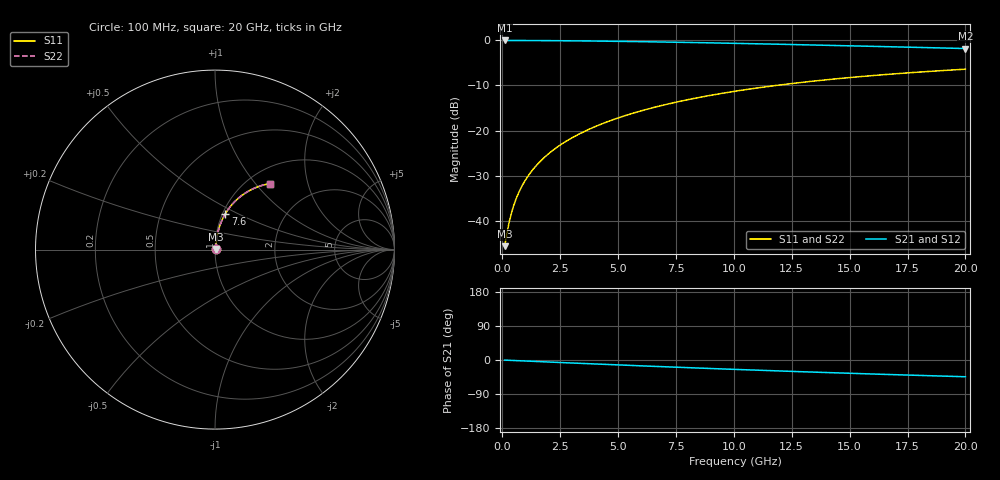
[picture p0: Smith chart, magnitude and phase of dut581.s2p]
! Touchstone file exported from HFSS 2024.1.0
!  File:  C:/UserFiles/LocalFiles/RDL_TSV_Batchsim/temp_RDL_bottom_581_1779690620.aedt
!  Generated:  02:33:07 PM May 25, 2026
!  Design:  RDL_bottom
!  Project:  temp_RDL_bottom_581_1779690620
!  Setup:  Setup1
!  Solution:  Sweep
! Variables:
!  dtsv = 10.80580581um
!  hbump = 3um
!  htsv = 72.78um
!  ldown = 546.74um
!  lrdl = 100um
!  p = 40
!  p1 = 59.2um
!  rhole = 1um
!  t = 450um
!  tdown = 2.78um
!  trdl = 3.915915916um
!  wdown = 16.49um
!  wrdl = 20um
# GHz S MA R 50.000000
! Terminal data exported
! Port[1] = RDL1_T1
! Port[2] = RDL1_T2
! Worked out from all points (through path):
!   200 points, 100 MHz to 20 GHz, reference 50 ohm
!   highest |S21| = -0.04 dB at 100 MHz (marker M1); lowest = -1.8 dB at 20 GHz (marker M2)
!   group delay of S21, straight-line fit = 6.13 ps
!   lowest |S11| = -45.6 dB at 100 MHz (marker M3), VSWR 1.01, Z = 50.4 + j0.292 ohm
!   |S11| at or under -10 dB: start of sweep to 11.82 GHz
!   |S22| runs from -45.6 to -6.4 dB; largest |S21 - S12| = 2.5e-15
!   S11 on the Smith chart (normalised r, x): 100 MHz: 1.01, +0.01; 7.6 GHz: 1.03, +0.43; 20 GHz: 1.25, +1.19
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0.1  0.00526 33.4  0.9956 -0.3  0.9956 -0.3  0.00526 33.4
! Gamma 0 0 0 0
! Port Impedance 50 0 50 0
0.2  0.007306 52.1  0.9955 -0.5  0.9955 -0.5  0.007306 52.1
0.3  0.009767 61.7  0.9954 -0.8  0.9954 -0.8  0.009767 61.7
0.4  0.01237 67.2  0.9952 -1.1  0.9952 -1.1  0.01237 67.2
0.5  0.01501 70.6  0.995 -1.4  0.995 -1.4  0.01501 70.6
0.6  0.01768 73.0  0.9948 -1.6  0.9948 -1.6  0.01768 73.0
0.8  0.02303 76.0  0.9944 -2.2  0.9944 -2.2  0.02303 76.0
1.1  0.03108 78.5  0.9937 -2.9  0.9937 -2.9  0.03108 78.5
1.5  0.0419 80.1  0.9927 -4.0  0.9927 -4.0  0.0419 80.1
1.8  0.05005 80.7  0.9918 -4.8  0.9918 -4.8  0.05005 80.7
2.1  0.05824 81.0  0.9907 -5.6  0.9907 -5.6  0.05824 81.0
2.7  0.07469 81.1  0.9882 -7.1  0.9882 -7.1  0.07469 81.1
3.5  0.09672 80.5  0.9839 -9.2  0.9839 -9.2  0.09673 80.5
4.2  0.1161 79.7  0.9795 -11.0  0.9795 -11.0  0.1161 79.7
5  0.1382 78.5  0.9738 -13.0  0.9738 -13.0  0.1382 78.5
5.9  0.1629 77.0  0.9665 -15.2  0.9665 -15.2  0.163 77.0
6.8  0.1875 75.3  0.9585 -17.4  0.9585 -17.4  0.1875 75.4
7.6  0.2091 73.8  0.9509 -19.3  0.9509 -19.3  0.2091 73.8
10.1  0.2741 68.8  0.9249 -24.9  0.9249 -24.9  0.2742 68.9
13.4  0.3524 62.2  0.8874 -31.9  0.8874 -31.9  0.3525 62.3
16.7  0.4206 56.0  0.8486 -38.3  0.8486 -38.3  0.4208 56.0
20  0.4786 50.2  0.8105 -44.2  0.8105 -44.2  0.4787 50.2
